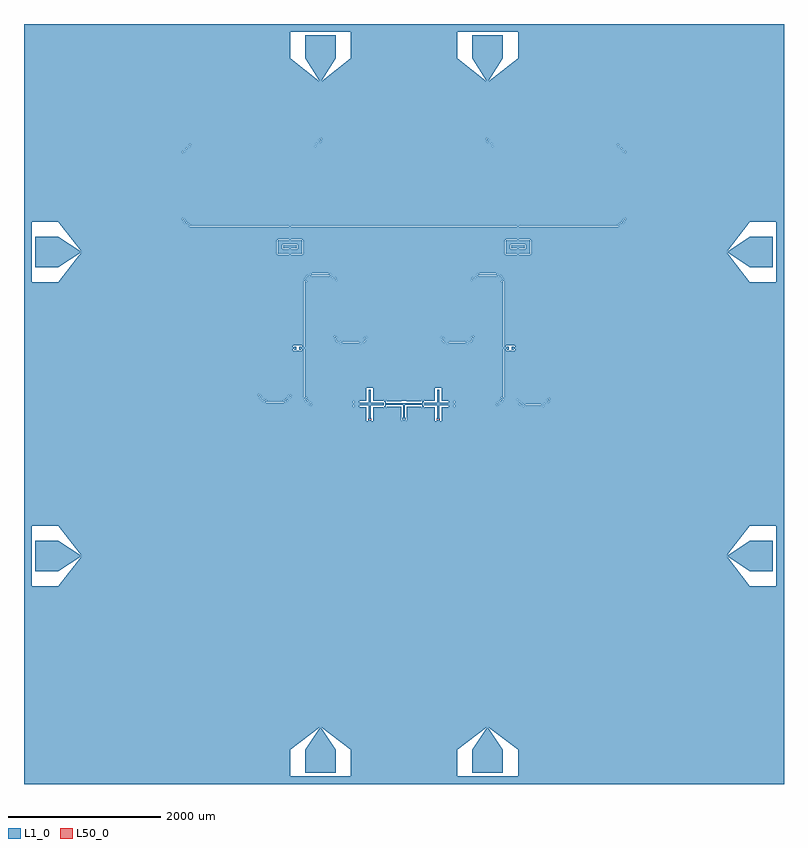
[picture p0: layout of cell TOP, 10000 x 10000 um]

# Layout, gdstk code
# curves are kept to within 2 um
import gdstk
lib = gdstk.Library(unit=1e-6, precision=1e-09)
def R(c, l, rs):  # rectangles x0, y0, x1, y1
    for r in rs: c.add(gdstk.rectangle(r[:2], r[2:], *l))
def P(c, l, *ps):  # polygons
    for p in ps: c.add(gdstk.Polygon(p, *l))
L1_0 = (1, 0)
L50_0 = (50, 0)

ground_main_1 = lib.new_cell('ground_main_1')
R(ground_main_1, L1_0, [(-399.5,-608.428,28.5,-568.601), (50.5,-608.428,399.5,-568.601), (-399.5,-568.601,28.5,-508.964), (50.5,-568.601,399.5,-508.964), (-5000,-4.148,-3311,40.584), (3311,-4.148,5000,40.584), (-5000,40.584,-3311,88.114), (3311,40.584,5000,88.114), (-5000,1918.796,-4900,1993.684), (4900,1918.796,5000,1993.684), (-5000,1993.684,-4900,2381.308), (4900,1993.684,5000,2381.308)])
P(ground_main_1, L1_0, [(5000,-3861.318),(74.424,-3861.318),(99.976,-3880.12),(133.187,-3888.839),(1003.979,-3889.04),(1036.123,-3894.758),(1065.173,-3909.659),(1082.879,-3925.543),(1095.254,-3942.289),(1104.253,-3961.067),(1109.993,-3984.15),(1111,-4250),(1500,-4550),(1500,-4900),(700,-4900),(700,-4550),(1089,-4250),(1087.04,-3980.53),(1077.649,-3955.77),(1061.318,-3934.924),(1039.524,-3919.88),(1014.241,-3912.002),(132.545,-3910.839),(106.213,-3906.155),(84.362,-3896.755),(62.853,-3880.86),(46.524,-3861.318),(-5000,-3861.318),(-5000,-4900),(-1500,-4900),(-1500,-4550),(-1111,-4250),(-1111,-4220),(-1089,-4220),(-1089,-4250),(-700,-4550),(-700,-4900),(-5000,-4900),(-5000,-5000),(5000,-5000)],
  [(-5000,-1957.711),(-5000,-3861.318),(46.524,-3861.318),(33.345,-3833.287),(28.5,-3801),(28.5,-1957.711),(-1604.746,-1957.711),(-1623.353,-1980.86),(-1644.862,-1996.755),(-1672.453,-2007.749),(-1699,-2011),(-4250,-2011),(-4550,-2400),(-4900,-2400),(-4900,-1957.711)],
  [(-1696.342,-1988.96),(-1660.476,-1980.12),(-1631.718,-1957.711),(-4274.13,-1957.711),(-4250,-1989)],
  [(5000,-1957.711),(4900,-1957.711),(4900,-2400),(4550,-2400),(4250,-2011),(1699,-2011),(1672.453,-2007.749),(1644.862,-1996.755),(1623.353,-1980.86),(1604.746,-1957.711),(50.5,-1957.711),(50.5,-3801),(56.219,-3832.205),(74.424,-3861.318),(5000,-3861.318)],
  [(4274.13,-1957.711),(1631.718,-1957.711),(1646.846,-1971.88),(1662.884,-1981.247),(1699,-1989),(4250,-1989)],
  [(-1631.399,-1957.339),(-1616.719,-1932.205),(-1611.04,-1903.658),(-1610.96,-1096.021),(-1605.242,-1063.877),(-1591.7,-1036.775),(-5000,-1036.775),(-5000,-1957.711),(-4900,-1957.711),(-4900,-1600),(-4550,-1600),(-4274.13,-1957.711)],
  [(28.5,-1036.775),(-1563.225,-1036.775),(-1581.247,-1062.884),(-1588.96,-1096.342),(-1589.04,-1903.979),(-1593.845,-1933.287),(-1604.746,-1957.711),(28.5,-1957.711)],
  [(1603.245,-1955.138),(1593.01,-1930.428),(1589.04,-1903.979),(1588.96,-1096.342),(1581.247,-1062.884),(1563.225,-1036.775),(50.5,-1036.775),(50.5,-1957.711),(1604.746,-1957.711)],
  [(5000,-1036.775),(1591.7,-1036.775),(1605.242,-1063.877),(1610.96,-1096.021),(1611,-1901),(1613.557,-1922.06),(1621.08,-1941.896),(1631.718,-1957.711),(4274.13,-1957.711),(4550,-1600),(4900,-1600),(4900,-1957.711),(5000,-1957.711)],
  [(-1590.341,-1034.827),(-1574.457,-1017.121),(-1552.525,-1001.814),(-1530.428,-993.01),(-1506.955,-989.161),(-509.5,-989),(-488.44,-986.443),(-5000,-986.443),(-5000,-1036.775)],
  [(28.5,-986.443),(-440.23,-986.443),(-471.567,-1004.253),(-506.521,-1010.96),(-1503.658,-1011.04),(-1537.116,-1018.753),(-1563.225,-1036.775),(28.5,-1036.775)],
  [(1561.318,-1034.924),(1534.676,-1017.699),(1503.658,-1011.04),(506.521,-1010.96),(471.567,-1004.253),(440.23,-986.443),(50.5,-986.443),(50.5,-1036.775)],
  [(5000,-986.443),(488.44,-986.443),(509.5,-989),(1506.955,-989.161),(1533.287,-993.845),(1555.138,-1003.245),(1574.457,-1017.121),(1591.7,-1036.775),(5000,-1036.775)],
  [(-485.869,-985.768),(-463.974,-976.309),(-443.631,-959.355),(-430.38,-939.524),(-422.941,-916.862),(-421.5,-608.428),(-685.353,-608.428),(-709,-611),(-5000,-608.428),(-5000,-986.443)],
  [(28.5,-608.428),(-399.5,-608.428),(-400.145,-912.893),(-412.314,-952.525),(-423.765,-969.916),(-440.23,-986.443),(28.5,-986.443)],
  [(440.23,-986.443),(423.765,-969.916),(412.314,-952.525),(400.145,-912.893),(399.5,-608.428),(50.5,-608.428),(50.5,-986.443)],
  [(5000,-608.428),(3224.647,-608.428),(3201,-611),(709,-611),(685.353,-608.428),(421.5,-608.428),(421.661,-906.313),(428.199,-934.676),(441.899,-957.339),(463.974,-976.309),(488.44,-986.443),(5000,-986.443)],
  [(-3227.547,-607.749),(-3260.242,-593.684),(-3287.763,-568.601),(-5000,-568.601),(-5000,-608.428)],
  [(-706.342,-588.96),(-677.795,-583.281),(-652.661,-568.601),(-3257.339,-568.601),(-3229.706,-584.186),(-3201,-589)],
  [(-421.5,-568.601),(-622.237,-568.601),(-649.758,-593.684),(-685.353,-608.428),(-421.5,-608.428)],
  [(682.453,-607.749),(649.758,-593.684),(622.237,-568.601),(421.5,-568.601),(421.5,-608.428)],
  [(3203.658,-588.96),(3232.205,-583.281),(3257.339,-568.601),(652.661,-568.601),(680.294,-584.186),(709,-589)],
  [(5000,-568.601),(3287.763,-568.601),(3260.242,-593.684),(3224.647,-608.428),(5000,-608.428)],
  [(-3288.57,-567.569),(-3304.253,-538.933),(-3310.702,-508.964),(-5000,-508.964),(-5000,-568.601)],
  [(-650.645,-566.869),(-629.88,-539.524),(-621.361,-508.964),(-3288.639,-508.964),(-3278.92,-541.896),(-3257.339,-568.601)],
  [(-421.5,-508.964),(-599.298,-508.964),(-606.813,-541.715),(-622.237,-568.601),(-421.5,-568.601)],
  [(621.43,-567.569),(605.747,-538.933),(599.298,-508.964),(421.5,-508.964),(421.5,-568.601)],
  [(3259.355,-566.869),(3280.12,-539.524),(3288.639,-508.964),(621.361,-508.964),(631.08,-541.896),(652.661,-568.601)],
  [(5000,-508.964),(3310.702,-508.964),(3303.187,-541.715),(3287.763,-568.601),(5000,-568.601)],
  [(-3310.839,-506.955),(-3310.96,-503.979),(-3311,-501),(-3311,-4.148),(-5000,-4.148),(-5000,-508.964),(-3310.702,-508.964)],
  [(28.5,-508.964),(28.5,-246.5),(-20.5,-246.5),(-20.5,-240.5),(34.5,-240.5),(34.5,-401),(44.5,-401),(44.5,-230.5),(-20.5,-230.5),(-20.5,-224.5),(50.5,-224.5),(50.5,-508.964),(399.5,-508.964),(399.5,-229.5),(470.5,-229.5),(470.5,-235.5),(405.5,-235.5),(405.5,-406),(415.5,-406),(415.5,-245.5),(470.5,-245.5),(470.5,-251.5),(421.5,-251.5),(421.5,-508.964),(599.298,-508.964),(599,-289),(621,-289),(621.361,-508.964),(3288.639,-508.964),(3289,-4.148),(1883.088,-4.148),(1866.703,-17.787),(1845.391,-29.359),(1825.118,-35.654),(1801,-38.189),(1583.859,-37.196),(1546.337,-25.545),(1516.912,-4.148),(1254.059,-4.148),(1231.023,-13.047),(1204.037,-16.96),(665,-17),(665,-45),(495,-45),(495,-224),(405,-224),(405,-45),(272,-45),(272,-52),(228,-52),(228,-37.5),(37.5,-37.5),(37.5,-219),(-37.5,-219),(-37.5,-37.5),(-228,-37.5),(-228,-52),(-272,-52),(-272,-45),(-405,-45),(-405,-224),(-495,-224),(-495,-45),(-665,-45),(-665,-17),(-1204.037,-16.96),(-1231.023,-13.047),(-1254.059,-4.148),(-3289,-4.148),(-3288.639,-508.964),(-621.361,-508.964),(-621,-289),(-599,-289),(-599.298,-508.964),(-421.5,-508.964),(-421.5,-251.5),(-470.5,-251.5),(-470.5,-245.5),(-415.5,-245.5),(-415.5,-406),(-405.5,-406),(-405.5,-235.5),(-470.5,-235.5),(-470.5,-229.5),(-399.5,-229.5),(-399.5,-508.964)],
  [(1803.576,-4.148),(1596.424,-4.148),(1599,-4.189),(1801,-4.189)],
  [(5000,-4.148),(3311,-4.148),(3311,-501),(3310.96,-503.979),(3310.839,-506.955),(3310.702,-508.964),(5000,-508.964)],
  [(-1256.35,-2.943),(-1280.849,14.857),(-1301.212,40.584),(-1530.515,40.584),(-1563.154,23.882),(-1599,18.205),(-1810.101,18.563),(-1842.571,25.91),(-1869.485,40.584),(-3289,40.584),(-3289,-4.148)],
  [(1514.857,-2.038),(1500.094,17.202),(1489.146,40.584),(1301.212,40.584),(1280.849,14.857),(1254.059,-4.148),(1516.912,-4.148)],
  [(1806.149,-4.027),(1828.777,0.659),(1847.091,9.991),(1862.509,23.584),(1874.063,40.584),(1525.937,40.584),(1537.491,23.584),(1550.802,11.472),(1568.814,1.57),(1586.172,-3.179)],
  [(3289,40.584),(1910.854,40.584),(1899.906,17.202),(1883.088,-4.148),(3289,-4.148)],
  [(-1871.616,42.176),(-1893.029,63.589),(-1907.44,88.114),(-3289,88.114),(-3289,40.584)],
  [(-1596.424,52.245),(-1578.607,54.781),(-1559.496,62.348),(-1542.867,74.429),(-1531.179,88.114),(-1868.821,88.114),(-1844.938,64.97),(-1811.277,52.852)],
  [(-1301.459,41),(-1311.323,63.154),(-1316.478,88.114),(-1492.56,88.114),(-1508.851,61.204),(-1530.515,40.584)],
  [(1488.677,41.965),(1483.992,62.67),(1483,88.114),(1316.478,88.114),(1311.323,63.154),(1301.212,40.584)],
  [(1875.196,42.898),(1881.99,64.984),(1883,88.114),(1517,88.114),(1518.452,62.446),(1525.937,40.584),(1874.063,40.584)],
  [(3289,88.114),(1917,88.114),(1916.008,62.67),(1910.854,40.584),(3289,40.584)],
  [(-5000,1918.796),(-5000,88.114),(-3311,88.114),(-3312.826,1918.796),(-4304.142,1918.796),(-4550,1600),(-4900,1600),(-4900,1918.796)],
  [(-1529.765,90.267),(-1520.256,111.328),(-1517,134.205),(-1517,1918.796),(-3290.449,1918.796),(-3289,88.114),(-1907.44,88.114),(-1914.465,110.087),(-1917,134.205),(-1917,1700.491),(-1883,1700.491),(-1883,134.205),(-1880.424,113.812),(-1868.821,88.114),(-1531.179,88.114)],
  [(3289,1901),(3290.449,1918.796),(1517,1918.796),(1517,88.114),(1883,88.114),(1883,1700.491),(1917,1700.491),(1917,88.114),(3289,88.114)],
  [(5000,1918.796),(4900,1918.796),(4900,1600),(4550,1600),(4304.142,1918.796),(3312.826,1918.796),(3311,88.114),(5000,88.114)],
  [(1483,718.491),(1461,718.491),(1459,700.741),(1340.804,700.751),(1339,718.491),(1317,718.491),(1316.478,88.114),(1483,88.114)],
  [(-1316.642,89.899),(-1317,718.491),(-1339,718.491),(-1341,700.741),(-1459.196,700.751),(-1461,718.491),(-1483,718.491),(-1483.04,131.168),(-1485.535,110.087),(-1492.56,88.114)],
  [(-1517,1963.491),(-1662.341,1963.722),(-1671.483,1972.008),(-1672,1993.684),(-3339.758,1993.684),(-3323.353,1980.86),(-3307.954,1962.731),(-3296.813,1941.715),(-3290.449,1918.796),(-1517,1918.796)],
  [(3290.971,1921.729),(3296.813,1941.715),(3307.954,1962.731),(3323.353,1980.86),(3339.758,1993.684),(1672,1993.684),(1671.483,1972.008),(1662.341,1963.722),(1517,1963.491),(1517,1918.796),(3290.449,1918.796)],
  [(4250,1989),(3393.687,1988.839),(3365.324,1982.301),(3340.645,1966.869),(3322.351,1944.23),(3312.826,1918.796),(4304.142,1918.796)],
  [(-3312.96,1919.47),(-3323.691,1946.526),(-3340.645,1966.869),(-3365.324,1982.301),(-3393.687,1988.839),(-4250,1989),(-4304.142,1918.796)],
  [(-1672,2152.491),(-1669.276,2160.104),(-1661.176,2164.433),(-1517,2164.491),(-1517,2333.491),(-2804.037,2333.531),(-2828.08,2336.696),(-2853.663,2346.134),(-2876.336,2361.284),(-2894.846,2381.308),(-4535.585,2381.308),(-4250,2011),(-3396.021,2010.96),(-3366.713,2006.155),(-3339.758,1993.684),(-1672,1993.684)],
  [(2803.576,2367.532),(2826.339,2371.505),(2846.539,2381.308),(-2846.539,2381.308),(-2823.877,2370.747),(-2801,2367.491)],
  [(3342.289,1995.254),(3366.713,2006.155),(3396.021,2010.96),(4250,2011),(4535.585,2381.308),(2894.846,2381.308),(2876.336,2361.284),(2853.663,2346.134),(2828.08,2336.696),(2804.037,2333.531),(1517,2333.491),(1517,2164.491),(1660,2164.491),(1668.485,2160.976),(1672,2152.491),(1672,1993.684)],
  [(-4900,2381.308),(-4900,2400),(-4550,2400),(-4535.585,2381.308),(-2894.846,2381.308),(-2911.323,2413.645),(-2917,2449.491),(-2917,3301),(-2914.465,3325.118),(-2906.971,3348.181),(-5000,3348.181),(-5000,2381.308)],
  [(2847.091,2381.671),(2860.775,2393.358),(2872.857,2409.987),(2880.424,2429.099),(2882.96,2446.915),(2882.96,3303.576),(2878.987,3326.339),(2868.054,3348.181),(-2868.054,3348.181),(-2877.242,3331.186),(-2881.99,3313.828),(-2882.96,2446.915),(-2880.424,2429.099),(-2872.857,2409.987),(-2860.775,2393.358),(-2846.539,2381.308)],
  [(5000,3348.181),(2906.971,3348.181),(2914.465,3325.118),(2917,3301),(2917,2449.491),(2911.323,2413.645),(2894.846,2381.308),(4535.585,2381.308),(4550,2400),(4900,2400),(4900,2381.308),(5000,2381.308)],
  [(-2905.7,3350.939),(-2891.149,3374.001),(-2871.616,3393.029),(-2848.181,3406.971),(-2823.15,3414.857),(-5000,3414.857),(-5000,3348.181),(-2906.971,3348.181)],
  [(2867.339,3349.198),(2855.228,3362.509),(2838.227,3374.063),(2803.576,3382.96),(1195.963,3383.04),(1154.609,3391.83),(1119.151,3414.857),(-1119.151,3414.857),(-1154.609,3391.83),(-1195.963,3383.04),(-2803.576,3382.96),(-2821.393,3380.424),(-2840.504,3372.857),(-2855.228,3362.509),(-2868.054,3348.181)],
  [(5000,3414.857),(2823.15,3414.857),(2850.939,3405.7),(2874.001,3391.149),(2893.029,3371.616),(2906.971,3348.181),(5000,3348.181)],
  [(-2822.139,3415.058),(-1199,3417),(-1173.661,3421.013),(-1152.909,3431.179),(-1137.491,3444.772),(-1127.143,3459.496),(-1119.576,3478.607),(-1117.04,3496.424),(-1117,4250),(-1500,4550),(-1500,4900),(-700,4900),(-700,4550),(-1083,4250),(-1083.159,3492.929),(-1086.205,3471.92),(-1094.3,3449.061),(-1119.151,3414.857),(700,3414.857),(700,5000),(-5000,5000),(-5000,3414.857)],
  [(1500,4550),(1117,4250),(1117.162,3493.851),(1122.758,3468.814),(1134.207,3448.742),(1152.909,3431.179),(1173.661,3421.013),(1199,3417),(5000,3414.857),(5000,5000),(700,5000),(700,4900),(1500,4900)],
  [(1119.151,3414.857),(1094.3,3449.061),(1086.205,3471.92),(1083.159,3492.929),(1083,4250),(700,4550),(700,3414.857)],
  [(-1461,768.241),(-1340.804,770.232),(-1339,752.491),(-1317,752.491),(-1316.841,1607.562),(-1309.295,1643.062),(-1291.149,1674.492),(-1266.703,1697.09),(-1233.946,1712.714),(-1233.946,2333.491),(-1483,2333.491),(-1483,2164.491),(-1338.824,2164.433),(-1330.724,2160.104),(-1328,2152.491),(-1328,1975.491),(-1330.724,1967.878),(-1340,1963.491),(-1483,1963.491),(-1483,752.491),(-1461,752.491)],
  [(-1233.946,1676.576),(-1255.228,1663),(-1270.235,1645.429),(-1279.744,1624.368),(-1283,1601.491),(-1282.96,96.424),(-1278.987,73.661),(-1268.821,52.909),(-1253.269,35.818),(-1233.946,23.916)],
  [(-1228.08,1714.286),(-1201,1717.491),(-999,1717.491),(-974.882,1714.956),(-946.337,1704.848),(-923.664,1689.698),(-905.154,1669.674),(-891.83,1645.882),(-883.04,1604.528),(-883,899.491),(-878.619,873.078),(-878.619,2333.491),(-1233.946,2333.491),(-1233.946,1712.714)],
  [(-878.619,813.286),(-894.846,831.308),(-905.7,849.552),(-913.795,872.412),(-916.841,893.42),(-917,1601.491),(-922.758,1631.677),(-932.661,1649.69),(-946.731,1664.673),(-964.086,1675.687),(-986.172,1682.482),(-1203.576,1683.451),(-1231.186,1677.733),(-1233.946,1676.576),(-1233.946,23.916),(-1203.576,17.04),(-878.619,17)],
  [(1235.914,24.804),(1255.228,37.491),(1268.821,52.909),(1278.987,73.661),(1282.96,96.424),(1283,1601.491),(1279.744,1624.368),(1270.235,1645.429),(1255.228,1663),(1233.946,1676.576)],
  [(228,37.5),(228,52),(272,52),(272,45),(405,45),(405,215),(495,215),(495,45),(665,45),(665,17),(878.619,17),(878.619,813.286),(845.391,792.321),(810.101,783.849),(599,783.491),(574.882,786.026),(538.39,800.585),(508.851,826.49),(489.654,860.77),(483,899.491),(483,1143.299),(517,1143.299),(517.364,891.774),(527.143,859.987),(550.802,833.152),(571.223,822.339),(593.851,817.653),(811.277,818.138),(833.566,824.235),(853.269,836.309),(868.821,853.4),(878.619,873.078),(878.619,2333.491),(37.5,2333.491),(37.5,37.5)],
  [(878.987,874.152),(883,899.491),(883,1601.491),(886.205,1628.571),(897.057,1656.842),(916.976,1683.516),(941,1701.95),(971.92,1714.286),(995.963,1717.451),(1201,1717.491),(1233.946,1712.714),(1233.946,2333.491),(878.619,2333.491)],
  [(1203.576,17.04),(1233.946,23.916),(1233.946,1676.576),(1203.576,1683.451),(988.723,1682.845),(961.773,1674.554),(939.225,1657.624),(923.744,1634.057),(917.162,1606.64),(916.841,893.42),(913.795,872.412),(905.7,849.552),(894.846,831.308),(878.619,813.286),(878.619,17)],
  [(1339,768.241),(1459.196,770.232),(1461,752.491),(1483,752.491),(1483,1963.491),(1338.824,1963.549),(1330.724,1967.878),(1328,1975.491),(1328.913,2157.083),(1333.333,2162.469),(1340,2164.491),(1483,2164.491),(1483,2333.491),(1233.946,2333.491),(1233.946,1712.714),(1264.178,1698.777),(1289.207,1676.827),(1306.971,1648.673),(1316.365,1613.616),(1317,752.491),(1339,752.491)],
  [(-596.424,817.532),(-581.112,819.466),(-568.814,823.249),(-831.186,823.249),(-818.888,819.466),(-803.576,817.532)],
  [(-665,45),(-495,45),(-495,215),(-405,215),(-405,45),(-272,45),(-272,52),(-228,52),(-228,37.5),(37.5,40),(37.5,823.249),(-511.587,823.249),(-530.817,805.645),(-551.819,793.52),(-574.882,786.026),(-599,783.491),(-813.125,784.127),(-848.181,793.52),(-878.619,813.286),(-878.619,17),(-665,17)],
  [(37.5,2333.491),(-878.619,2333.491),(-878.619,873.078),(-864.182,847.222),(-842.741,828.91),(-831.186,823.249),(-568.814,823.249),(-555.062,830.256),(-531.179,853.4),(-518.01,886.664),(-517,1059.304),(-483,1059.304),(-483.992,884.35),(-493.029,852.31),(-511.587,823.249),(37.5,823.249)])

top_main_1 = lib.new_cell('TOP_main_1')
R(top_main_1, L1_0, [(-1475,727.491,-1455,743.491), (-1455,727.491,-1444.999,743.491), (-1355.001,727.491,-1345,743.491), (-1345,727.491,-1325,743.491), (1325,727.491,1345,743.491), (1345,727.491,1355.001,743.491), (1444.999,727.491,1455,743.491), (1455,727.491,1475,743.491), (-1508,885.491,-1492,1935.491), (1492,885.491,1508,1935.491), (-1508,1935.491,-1492,2047.492), (1492,1935.491,1508,2047.492), (-1508,2152.49,-1492,2200.491), (1492,2152.49,1508,2200.491), (-1508,2200.491,-1492,2250.491), (1492,2200.491,1508,2250.491), (-1350,2342.491,1350,2358.491)])
P(top_main_1, L1_0, [(-635,-15),(-465,-15),(-465,-185),(-470,-185),(-470,-202.5),(-460,-202.5),(-460,-193),(-440,-193),(-440,-202.5),(-430,-202.5),(-430,-185),(-435,-185),(-435,-15),(-265,-15),(-265,15),(-435,15),(-435,185),(-465,185),(-465,15),(-635,15),(-635,-15)],
  [(-430,-225),(-430,-207.5),(-440,-207.5),(-440,-217),(-460,-217),(-460,-207.5),(-470,-207.5),(-470,-225),(-430,-225)],
  [(-588,-23),(-588,-33),(-643,-33),(-653,-33),(-653,-8),(-693,-8),(-693,8),(-653,8),(-653,33),(-643,33),(-588,33),(-588,23),(-643,23),(-643,-23),(-588,-23)],
  [(-405.5,-235.5),(-415.5,-235.5),(-470.5,-235.5),(-470.5,-245.5),(-415.5,-245.5),(-415.5,-406),(-405.5,-406),(-405.5,-245.5),(-405.5,-235.5)],
  [(265,-15),(435,-15),(435,-185),(430,-185),(430,-202.5),(440,-202.5),(440,-193),(460,-193),(460,-202.5),(470,-202.5),(470,-185),(465,-185),(465,-15),(635,-15),(635,15),(465,15),(465,185),(435,185),(435,15),(265,15),(265,-15)],
  [(470,-225),(470,-207.5),(460,-207.5),(460,-217),(440,-217),(440,-207.5),(430,-207.5),(430,-225),(470,-225)],
  [(588,23),(588,33),(643,33),(653,33),(653,8),(693,8),(693,-8),(653,-8),(653,-33),(643,-33),(588,-33),(588,-23),(643,-23),(643,23),(588,23)],
  [(405.5,-235.5),(415.5,-235.5),(470.5,-235.5),(470.5,-245.5),(415.5,-245.5),(415.5,-406),(405.5,-406),(405.5,-245.5),(405.5,-235.5)],
  [(-250,30),(-250,-30),(-260,-30),(-260,-40),(-250,-40),(-240,-40),(-240,-7.5),(-7.5,-7.5),(-7.5,-180),(-20,-180),(-20,-197.5),(-10,-197.5),(-10,-188),(10,-188),(10,-197.5),(20,-197.5),(20,-180),(7.5,-180),(7.5,-7.5),(240,-7.5),(240,-40),(250,-40),(260,-40),(260,-30),(250,-30),(250,30),(260,30),(260,40),(250,40),(240,40),(240,7.5),(-240,7.5),(-240,40),(-250,40),(-260,40),(-260,30),(-250,30)],
  [(20,-220),(20,-202.5),(10,-202.5),(10,-212),(-10,-212),(-10,-202.5),(-20,-202.5),(-20,-220),(20,-220)],
  [(44.5,-230.5),(34.5,-230.5),(-20.5,-230.5),(-20.5,-240.5),(34.5,-240.5),(34.5,-401),(44.5,-401),(44.5,-240.5),(44.5,-230.5)],
  [(-4250,2005),(-4550,2200),(-4850,2200),(-4850,1800),(-4550,1800),(-4250,1995),(-4220,1995),(-4220,2005),(-4250,2005)],
  [(-4250,-1995),(-4550,-1800),(-4850,-1800),(-4850,-2200),(-4550,-2200),(-4250,-2005),(-4220,-2005),(-4220,-1995),(-4250,-1995)],
  [(1095,-4250),(900,-4550),(900,-4850),(1300,-4850),(1300,-4550),(1105,-4250),(1105,-4220),(1095,-4220),(1095,-4250)],
  [(4250,-2005),(4550,-2200),(4850,-2200),(4850,-1800),(4550,-1800),(4250,-1995),(4220,-1995),(4220,-2005),(4250,-2005)],
  [(4250,1995),(4550,1800),(4850,1800),(4850,2200),(4550,2200),(4250,2005),(4220,2005),(4220,1995),(4250,1995)],
  [(1108,4250),(1300,4550),(1300,4850),(900,4850),(900,4550),(1092,4250),(1092,4220),(1108,4220),(1108,4250)],
  [(-1092,4250),(-900,4550),(-900,4850),(-1300,4850),(-1300,4550),(-1108,4250),(-1108,4220),(-1092,4220),(-1092,4250)],
  [(-1105,-4250),(-1300,-4550),(-1300,-4850),(-900,-4850),(-900,-4550),(-1095,-4250),(-1095,-4220),(-1105,-4220),(-1105,-4250)],
  [(-1508,2250.491),(-1508,2342.491),(-1650,2342.491),(-1650,2358.491),(-1350,2358.491),(-1350,2342.491),(-1492,2342.491),(-1492,2250.491),(-1508,2250.491)],
  [(-1591,2080.491),(-1588.657,2086.148),(-1583,2088.491),(-1416.216,2088.453),(-1409.154,2082.052),(-1409.039,2054.707),(-1411.343,2049.834),(-1417,2047.491),(-1583.784,2047.53),(-1590.846,2053.93)],
  [(-1524.902,1975.496),(-1517.067,1982.513),(-1518.247,2031.767),(-1524.412,2035.462),(-1599.445,2036.839),(-1602.961,2042.707),(-1603,2092.491),(-1600.657,2098.148),(-1595.784,2100.453),(-1517,2100.491),(-1517,2152.491),(-1656.917,2150.792),(-1660,2144.393),(-1658.301,1978.574),(-1651.902,1975.491)],
  [(-1347.902,1975.496),(-1342.489,1977.702),(-1340.005,1983.393),(-1340,2144.393),(-1342.211,2150.003),(-1348.098,2152.491),(-1517,2152.491),(-1517,2100.491),(-1404.216,2100.453),(-1397.154,2094.052),(-1397.039,2042.707),(-1400.555,2036.839),(-1475.588,2035.462),(-1481.535,2032.093),(-1483,1983.589),(-1480.789,1977.98),(-1474.902,1975.491)],
  [(-1492,885.491),(-1492,743.491),(-1475,743.491),(-1475,727.491),(-1492,727.491),(-1492,585.491),(-1508,585.491),(-1508,885.491),(-1492,885.491)],
  [(-1325,743.491),(-1308,743.491),(-1308,885.491),(-1292,885.491),(-1292,585.491),(-1308,585.491),(-1308,727.491),(-1325,727.491),(-1325,743.491)],
  [(-1443,716.741),(-1445,718.741),(-1444.764,753.184),(-1421.057,754.005),(-1420.236,717.798)],
  [(-1378,716.741),(-1380,718.741),(-1379.764,753.184),(-1356.057,754.005),(-1355.236,717.798)],
  [(1492,2250.491),(1492,2342.491),(1350,2342.491),(1350,2358.491),(1650,2358.491),(1650,2342.491),(1508,2342.491),(1508,2250.491),(1492,2250.491)],
  [(1409,2080.491),(1411.343,2086.148),(1417,2088.491),(1583.784,2088.453),(1590.846,2082.052),(1590.961,2054.707),(1588.657,2049.834),(1583,2047.491),(1416.216,2047.53),(1409.154,2053.93)],
  [(1475.098,1975.496),(1482.933,1982.513),(1481.753,2031.767),(1475.588,2035.462),(1400.555,2036.839),(1397.039,2042.707),(1397,2092.491),(1399.343,2098.148),(1404.216,2100.453),(1483,2100.491),(1483,2152.491),(1343.083,2150.792),(1340,2144.393),(1341.699,1978.574),(1348.098,1975.491)],
  [(1652.098,1975.496),(1657.511,1977.702),(1659.995,1983.393),(1660,2144.393),(1657.789,2150.003),(1651.902,2152.491),(1483,2152.491),(1483,2100.491),(1595.784,2100.453),(1602.846,2094.052),(1602.961,2042.707),(1599.445,2036.839),(1524.412,2035.462),(1518.465,2032.093),(1517,1983.589),(1519.211,1977.98),(1525.098,1975.491)],
  [(1475,743.491),(1492,743.491),(1492,885.491),(1508,885.491),(1508,585.491),(1492,585.491),(1492,727.491),(1475,727.491),(1475,743.491)],
  [(1308,885.491),(1308,743.491),(1325,743.491),(1325,727.491),(1308,727.491),(1308,585.491),(1292,585.491),(1292,885.491),(1308,885.491)],
  [(1357,716.741),(1355,718.741),(1355.236,753.184),(1378.943,754.005),(1379.764,717.798)],
  [(1422,716.741),(1420,718.741),(1420.236,753.184),(1443.943,754.005),(1444.764,717.798)],
  [(-1292,585.491),(-1308,585.491),(-1307.959,96.052),(-1305.41,75.601),(-1298.988,56.019),(-1288.93,38.031),(-1275.611,22.304),(-1259.523,9.423),(-1243.981,1.012),(-1227.267,-4.726),(-1206.894,-7.838),(-693,-8),(-693,8),(-1206.391,8.16),(-1237.684,15.722),(-1264.386,33.707),(-1283.155,59.864),(-1289.454,77.625),(-1291.84,93.609)],
  [(-1596.052,27.246),(-1572.733,30.479),(-1553.335,37.439),(-1533.279,49.767),(-1516.405,66.182),(-1538.567,66.182),(-1552.724,55.85),(-1567.314,48.9),(-1599,43.205),(-1809.08,43.564),(-1837.684,50.927),(-1861.433,66.182),(-1883.595,66.182),(-1869.022,51.61),(-1854.5,41.54),(-1835.743,33.002),(-1815.697,28.219)],
  [(-1862.423,67.062),(-1873.332,78.986),(-1883.155,95.069),(-1889.454,112.83),(-1891.96,131.508),(-1892,1700.491),(-1908,1700.491),(-1907.959,131.257),(-1903.121,102.264),(-1888.93,73.235),(-1883.595,66.182)],
  [(-1514.562,68.484),(-1498.793,96.687),(-1492.162,128.311),(-1492,585.491),(-1508,585.491),(-1508.359,126.124),(-1511.218,110.218),(-1518.041,92.652),(-1526.668,78.986),(-1538.567,66.182),(-1516.405,66.182)],
  [(-596.052,792.532),(-567.059,797.37),(-540.477,809.914),(-520.278,827.022),(-503.529,851.177),(-521.89,851.177),(-539.593,830.558),(-562.316,816.213),(-580.256,810.443),(-599,808.491),(-814.436,809.489),(-835.2,815.162),(-851.837,824.015),(-866.293,836.105),(-878.11,851.177),(-896.471,851.177),(-883.595,831.469),(-866.721,815.053),(-843.981,801.503),(-821.513,794.476),(-801,792.491)],
  [(-1292,1601.491),(-1288.782,1625.478),(-1278.11,1649.805),(-1296.471,1649.805),(-1304.726,1627.758),(-1307.959,1604.439),(-1308,885.491),(-1292,885.491)],
  [(-879.355,853.215),(-888.782,875.505),(-891.96,896.795),(-892.162,1607.386),(-896.037,1630.606),(-903.529,1649.805),(-921.89,1649.805),(-911.968,1628.068),(-908.04,1604.188),(-907.838,893.597),(-903.963,870.376),(-896.471,851.177),(-878.11,851.177)],
  [(-502.234,853.826),(-495.274,873.224),(-492.162,893.597),(-492,1059.304),(-508,1059.304),(-508.16,894.1),(-511.968,872.914),(-521.89,851.177),(-503.529,851.177)],
  [(-904.896,1652.418),(-918.311,1671.764),(-935.631,1687.708),(-956.019,1699.479),(-978.487,1706.506),(-999,1708.491),(-1201,1708.491),(-1230.115,1704.454),(-1257.033,1692.647),(-1279.722,1673.96),(-1296.471,1649.805),(-1278.11,1649.805),(-1260.407,1670.425),(-1237.684,1684.769),(-1219.744,1690.54),(-1201,1692.491),(-985.564,1691.494),(-964.8,1685.82),(-948.163,1676.967),(-933.707,1664.877),(-921.89,1649.805),(-903.529,1649.805)],
  [(1308,585.491),(1292,585.491),(1291.641,90.92),(1283.155,59.864),(1264.386,33.707),(1237.684,15.722),(1206.391,8.16),(693,8),(693,-8),(1206.894,-7.838),(1227.267,-4.726),(1243.981,1.012),(1259.523,9.423),(1275.611,22.304),(1288.93,38.031),(1298.988,56.019),(1304.726,72.733),(1307.838,93.106)],
  [(1803.948,-29.148),(1824.399,-26.599),(1846.665,-18.955),(1866.721,-6.627),(1882.823,8.878),(1860.407,8.878),(1832.686,-7.494),(1801,-13.189),(1590.92,-12.829),(1562.316,-5.467),(1539.593,8.878),(1517.177,8.878),(1530.978,-4.784),(1548.074,-16.292),(1567.059,-24.31),(1584.303,-28.174)],
  [(1883.595,9.789),(1901.207,40.293),(1907.959,74.863),(1908,1700.491),(1892,1700.491),(1891.96,75.115),(1889.454,56.437),(1883.155,38.676),(1873.332,22.593),(1860.407,8.878)],
  [(1537.577,10.669),(1518.041,36.258),(1511.218,53.825),(1508.359,69.731),(1508,585.491),(1492,585.491),(1492.365,68.975),(1498.793,40.293),(1514.562,12.091),(1517.177,8.878),(1539.593,8.878)],
  [(803.948,792.532),(832.941,797.37),(859.523,809.914),(879.722,827.022),(896.471,851.177),(878.11,851.177),(860.407,830.558),(837.684,816.213),(819.744,810.443),(801,808.491),(585.564,809.489),(564.8,815.162),(548.163,824.015),(533.707,836.105),(521.89,851.177),(503.529,851.177),(516.405,831.469),(533.279,815.053),(556.019,801.503),(578.487,794.476),(599,792.491)],
  [(897.766,853.826),(905.41,876.092),(908,899.491),(908.04,1604.188),(911.968,1628.068),(921.89,1649.805),(903.529,1649.805),(895.274,1627.758),(892.041,1604.439),(891.96,896.795),(888.032,872.914),(878.11,851.177),(896.471,851.177)],
  [(1308,1601.491),(1304.726,1627.758),(1296.471,1649.805),(1278.11,1649.805),(1288.032,1628.068),(1291.96,1604.188),(1292,885.491),(1308,885.491)],
  [(520.645,853.215),(511.218,875.505),(508.04,896.795),(508,1143.299),(492,1143.299),(492.649,887.72),(496.037,870.376),(503.529,851.177),(521.89,851.177)],
  [(1295.104,1652.418),(1281.689,1671.764),(1264.369,1687.708),(1243.981,1699.479),(1221.513,1706.506),(1201,1708.491),(999,1708.491),(969.885,1704.454),(942.967,1692.647),(920.278,1673.96),(903.529,1649.805),(921.89,1649.805),(939.593,1670.425),(962.316,1684.769),(980.256,1690.54),(999,1692.491),(1214.436,1691.494),(1235.2,1685.82),(1251.837,1676.967),(1266.293,1664.877),(1278.11,1649.805),(1296.471,1649.805)],
  [(-1650,2358.491),(-2803.697,2358.531),(-2832.686,2364.186),(-2858.338,2378.827),(-2873.332,2394.272),(-2883.155,2410.355),(-2889.454,2428.117),(-2891.96,2446.795),(-2891.96,3303.697),(-2889.454,3322.375),(-2883.155,3340.136),(-2873.332,3356.219),(-2858.806,3371.272),(-2881.689,3371.272),(-2883.595,3369.022),(-2901.207,3338.518),(-2907.959,3303.948),(-2907.959,2446.543),(-2904.726,2423.224),(-2896.471,2401.177),(-2885.438,2383.77),(-2869.022,2366.896),(-2838.518,2349.284),(-2821.513,2344.476),(-2801,2342.491),(-1650,2342.491)],
  [(-2858.338,3371.664),(-2832.686,3386.305),(-2803.697,3391.96),(-1199,3392),(-1175.601,3394.59),(-1153.335,3402.234),(-1130.978,3416.405),(-1111.07,3438.031),(-1098.793,3461.482),(-1092.365,3490.164),(-1092,4220),(-1108,4220),(-1108.359,3490.92),(-1112.793,3469.855),(-1123.524,3448.163),(-1139.593,3430.066),(-1159.864,3416.845),(-1180.256,3409.951),(-1199,3408),(-2803.948,3407.959),(-2832.941,3403.121),(-2859.523,3390.577),(-2881.689,3371.272)],
  [(2803.948,2342.532),(2824.399,2345.081),(2841.265,2350.356),(2859.523,2359.914),(2875.611,2372.795),(2887.217,2386.122),(2897.766,2403.826),(2903.963,2420.376),(2907.635,2440.655),(2907.959,3303.948),(2901.207,3338.518),(2893.665,3354.5),(2881.689,3371.272),(2858.806,3371.272),(2873.332,3356.219),(2883.155,3340.136),(2889.454,3322.375),(2891.96,3303.697),(2891.96,2446.795),(2889.454,2428.117),(2883.155,2410.355),(2873.332,2394.272),(2858.338,2378.827),(2832.686,2364.186),(2803.697,2358.531),(1650,2358.491),(1650,2342.491)],
  [(2879.722,3373.469),(2864.369,3387.217),(2843.981,3398.988),(2824.399,3405.41),(2803.948,3407.959),(1199,3408),(1180.256,3409.951),(1159.864,3416.845),(1139.593,3430.066),(1123.524,3448.163),(1112.793,3469.855),(1108.359,3490.92),(1108,4220),(1092,4220),(1092.365,3490.164),(1098.793,3461.482),(1111.07,3438.031),(1130.978,3416.405),(1153.335,3402.234),(1175.601,3394.59),(1199,3392),(2803.697,3391.96),(2832.686,3386.305),(2858.806,3371.272),(2881.689,3371.272)],
  [(-3271.22,-563.491),(-3281.005,-550.348),(-3288.359,-535.705),(-3293.572,-517.323),(-3295,-501),(-3295,1901),(-3296.418,1918.118),(-3301.603,1937.466),(-3315.2,1962.592),(-3335.122,1983.071),(-3347,1991.067),(-3362.534,1998.397),(-3390.412,2004.645),(-4220,2005),(-4220,1995),(-3390.807,1994.642),(-3364.295,1988.359),(-3342.867,1976.4),(-3323.6,1957.133),(-3310.669,1933.15),(-3306.428,1917.323),(-3305,1901),(-3304.961,-503.866),(-3301.076,-529.299),(-3291.067,-553),(-3281.279,-567.115),(-3271.22,-577.71)],
  [(-706.134,-604.961),(-691.882,-603.582),(-675.231,-599.365),(-659.501,-592.465),(-645.122,-583.071),(-634.455,-573.519),(-623.535,-560.26),(-614.947,-545.385),(-609.742,-532.046),(-605.039,-503.866),(-605,-295),(-615,-295),(-615.04,-503.734),(-619.771,-530.567),(-632,-554.916),(-650.698,-574.735),(-674.295,-588.359),(-700.807,-594.642),(-3201,-595),(-3220.008,-593.058),(-3240.726,-586.193),(-3257.133,-576.4),(-3271.22,-563.491),(-3271.22,-577.71),(-3255.462,-589.6),(-3229.299,-601.076),(-3203.866,-604.961)],
  [(-1696.134,-2004.961),(-1679.062,-2003.071),(-1662.534,-1998.397),(-1644.538,-1989.6),(-1630.698,-1979.427),(-1616.929,-1964.878),(-1607.535,-1950.499),(-1600.635,-1934.769),(-1595.986,-1915.285),(-1594.96,-1096.266),(-1593.058,-1079.992),(-1588.359,-1064.295),(-1581.005,-1049.652),(-1571.22,-1036.509),(-1571.22,-1022.29),(-1584.8,-1037.408),(-1595.053,-1054.615),(-1601.818,-1073.47),(-1604.961,-1096.134),(-1605.358,-1909.193),(-1611.641,-1935.705),(-1623.6,-1957.133),(-1642.867,-1976.4),(-1666.85,-1989.331),(-1682.677,-1993.572),(-1699,-1995),(-4220,-1995),(-4220,-2005)],
  [(-1569.373,-1034.493),(-1557.133,-1023.6),(-1540.726,-1013.807),(-1522.678,-1007.534),(-1503.734,-1005.04),(-509.5,-1005),(-483.97,-1001.818),(-460.001,-992.465),(-439.063,-977.515),(-422.435,-957.883),(-411.135,-934.769),(-405.855,-909.588),(-405.5,-406),(-415.5,-406),(-416.136,-911.913),(-421.169,-933.15),(-430.964,-952.654),(-444.993,-969.373),(-464.888,-983.739),(-485.171,-991.797),(-509.5,-995),(-1506.729,-995.158),(-1532.046,-999.742),(-1555.462,-1010.4),(-1571.22,-1022.29),(-1571.22,-1036.509)],
  [(3203.866,-604.961),(3229.299,-601.076),(3255.462,-589.6),(3271.22,-577.71),(3271.22,-563.491),(3257.133,-576.4),(3240.726,-586.193),(3220.008,-593.058),(3201,-595),(698.087,-594.364),(671.769,-587.312),(648.578,-573.008),(630.464,-552.654),(618.949,-527.96),(615.04,-503.734),(615,-295),(605,-295),(605.039,-503.866),(609.742,-532.046),(614.947,-545.385),(623.535,-560.26),(642.885,-581.279),(654.538,-589.6),(669.864,-597.355),(697.559,-604.369)],
  [(3271.437,-577.515),(3284.8,-562.592),(3295.053,-545.385),(3301.818,-526.53),(3304.961,-503.866),(3305,1901),(3306.428,1917.323),(3310.669,1933.15),(3323.6,1957.133),(3342.867,1976.4),(3364.295,1988.359),(3390.807,1994.642),(4220,1995),(4220,2005),(3390.412,2004.645),(3362.534,1998.397),(3347,1991.067),(3335.122,1983.071),(3315.2,1962.592),(3301.603,1937.466),(3296.418,1918.118),(3295,1901),(3295,-501),(3293.572,-517.323),(3288.359,-535.705),(3281.005,-550.348),(3271.22,-563.491)],
  [(1571.22,-1022.29),(1555.462,-1010.4),(1540.136,-1002.645),(1523.743,-997.517),(1503.866,-995.039),(509.5,-995),(485.171,-991.797),(464.888,-983.739),(444.993,-969.373),(430.964,-952.654),(421.169,-933.15),(416.136,-911.913),(415.5,-406),(405.5,-406),(405.855,-909.588),(411.135,-934.769),(422.435,-957.883),(439.063,-977.515),(460.001,-992.465),(483.97,-1001.818),(509.5,-1005),(1503.734,-1005.04),(1522.678,-1007.534),(1540.726,-1013.807),(1557.133,-1023.6),(1571.22,-1036.509)],
  [(4220,-1995),(1699,-1995),(1682.677,-1993.572),(1666.85,-1989.331),(1642.867,-1976.4),(1623.6,-1957.133),(1611.641,-1935.705),(1605.358,-1909.193),(1604.961,-1096.134),(1601.818,-1073.47),(1595.053,-1054.615),(1584.8,-1037.408),(1571.22,-1022.29),(1571.22,-1036.509),(1581.005,-1049.652),(1588.359,-1064.295),(1593.058,-1079.992),(1594.96,-1096.266),(1595.355,-1909.588),(1601.603,-1937.466),(1608.933,-1953),(1616.929,-1964.878),(1637.408,-1984.8),(1662.534,-1998.397),(1681.882,-2003.582),(1699,-2005),(4220,-2005)],
  [(1105,-3999),(1103.582,-3981.882),(1099.365,-3965.231),(1092.465,-3949.501),(1084.8,-3937.408),(1075.545,-3926.481),(1062.592,-3915.2),(1047.959,-3906.206),(1032.046,-3899.742),(105.88,-3899.742),(121.382,-3903.582),(138.5,-3905),(1001,-3905),(1014.624,-3905.992),(1030.567,-3909.771),(1040.726,-3913.807),(1052.654,-3920.464),(1063.491,-3928.78),(1071.22,-3936.509),(1079.536,-3947.346),(1085.001,-3956.813),(1090.229,-3969.433),(1093.058,-3979.992),(1095,-3999),(1095,-4220),(1105,-4220)],
  [(1029.299,-3898.924),(1015.285,-3895.986),(1001,-3895),(133.034,-3894.841),(119.492,-3893.058),(103.795,-3888.359),(91.5,-3882.406),(80.198,-3874.735),(70.127,-3865.507),(59.964,-3852.654),(53.307,-3840.726),(48.449,-3827.96),(45.492,-3814.624),(44.5,-3801),(44.5,-401),(34.5,-401),(34.5,-3801),(35.486,-3815.285),(38.424,-3829.299),(48.433,-3853),(63.955,-3873.519),(84.038,-3889.6),(105.88,-3899.742)])
top_main_1.add(gdstk.Reference(ground_main_1, (0,0)))

top_main = lib.new_cell('TOP_main')
top_main.add(gdstk.Reference(top_main_1, (0,0)))

top = lib.new_cell('TOP')
R(top, L50_0, [(-468.5,-207.5,-461.5,-202.5), (-438.5,-207.5,-431.5,-202.5), (431.5,-207.5,438.5,-202.5), (461.5,-207.5,468.5,-202.5), (-18.5,-202.5,-11.5,-197.5), (11.5,-202.5,18.5,-197.5)])
top.add(gdstk.Reference(top_main, (0,0)))

lib.write_gds('TOP.gds')
